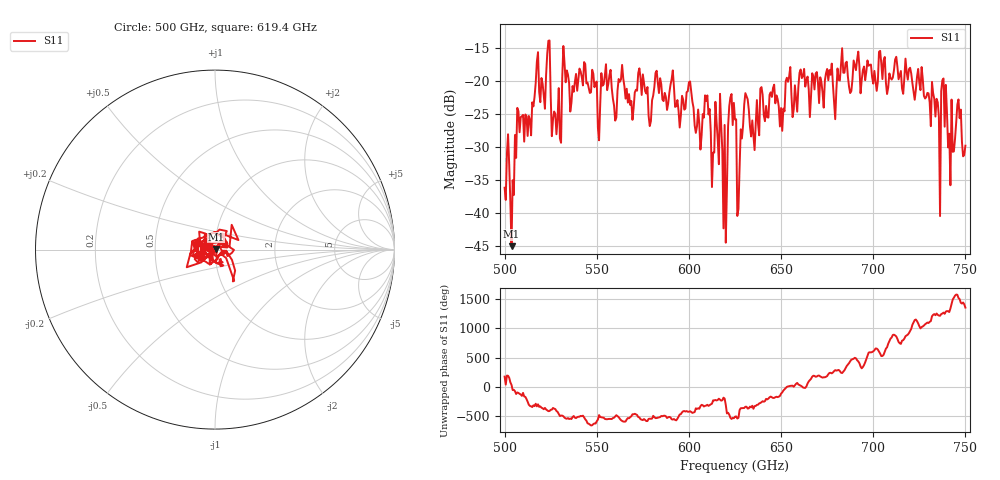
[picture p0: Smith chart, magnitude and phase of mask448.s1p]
!Created with skrf (http://scikit-rf.org).
# GHz S MA R 50.0
!freq magS11 angS11
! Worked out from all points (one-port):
!   401 points, 500 GHz to 750 GHz, reference 50 ohm
!   lowest |S11| = -45.1 dB at 503.8 GHz (marker M1), VSWR 1.01, Z = 50.5 + j0.286 ohm
!   |S11| at or under -10 dB: start of sweep to end of sweep
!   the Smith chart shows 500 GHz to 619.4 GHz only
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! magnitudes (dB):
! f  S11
! 500 GHz  -36.2
! 503.8 GHz  -45.1
! 508.1 GHz  -27.8
! 513.1 GHz  -25.3
! 517.5 GHz  -17.0
! 523.8 GHz  -13.8
! 526.9 GHz  -24.6
! 531.2 GHz  -19.6
! 560 GHz  -26.0
! 562.5 GHz  -20.1
! 593.8 GHz  -22.9
! 610 GHz  -22.1
! 612.5 GHz  -36.1
! 618.1 GHz  -30.6
! 619.4 GHz  -26.6
! 622.5 GHz  -22.4
! 625 GHz  -25.8
! 627.5 GHz  -33.0
! 631.2 GHz  -22.3
! 634.4 GHz  -26.0
! 656.2 GHz  -25.5
! 687.5 GHz  -21.8
! 718.8 GHz  -19.8
! 735 GHz  -23.2
! 738.1 GHz  -19.6
! 741.9 GHz  -35.8
! 746.2 GHz  -22.8
! 750 GHz  -29.8
